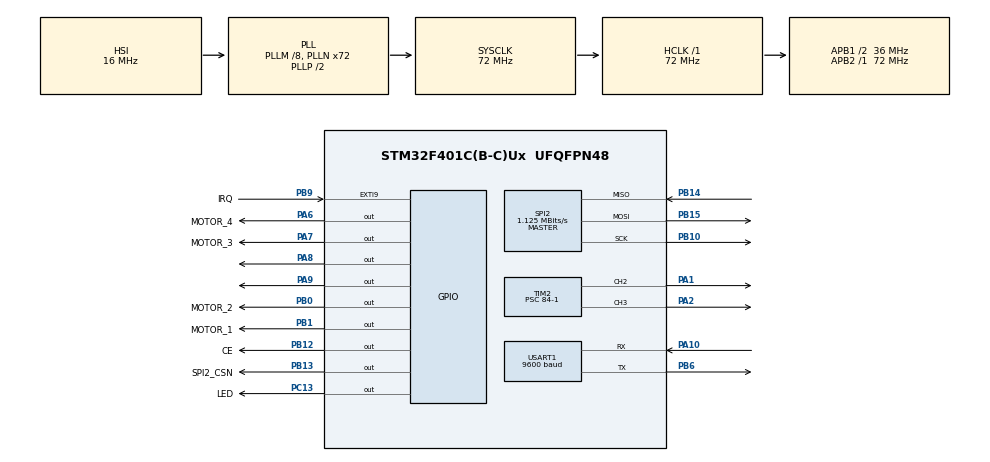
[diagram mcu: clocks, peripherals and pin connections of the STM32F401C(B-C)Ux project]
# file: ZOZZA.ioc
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FREERTOS.Tasks01=defaultTask,24,128,StartDefaultTask,Default,NULL,Dynamic,NULL,NULL;CTRLt,40,128,CTRL,Default,NULL,Dynamic,NULL,NULL;SPEEDt,48,128,SPEED,Default,NULL,Dynamic,NULL,NULL;NRFt,49,128,NRF,Default,NULL,Dynamic,NULL,NULL
FREERTOS.configUSE_NEWLIB_REENTRANT=1
Mcu.Family=STM32F4
Mcu.Name=STM32F401C(B-C)Ux
Mcu.Package=UFQFPN48
NVIC.EXTI9_5_IRQn=true\:5\:0\:false\:false\:true\:true\:true\:true\:true
NVIC.PriorityGroup=NVIC_PRIORITYGROUP_4
NVIC.TIM1_UP_TIM10_IRQn=true\:15\:0\:false\:false\:true\:false\:false\:true\:true
NVIC.TIM2_IRQn=true\:5\:0\:false\:false\:true\:true\:true\:true\:true
NVIC.TimeBase=TIM1_UP_TIM10_IRQn
NVIC.TimeBaseIP=TIM10
NVIC.USART1_IRQn=true\:5\:0\:false\:false\:true\:true\:true\:true\:true
PA1.Signal=S_TIM2_CH2
PA10.Mode=Asynchronous
PA10.Signal=USART1_RX
PA2.Signal=S_TIM2_CH3
PA6.GPIO_Label=MOTOR_4
PA6.Signal=GPIO_Output
PA7.GPIO_Label=MOTOR_3
PA7.Signal=GPIO_Output
PA8.Signal=GPIO_Output
PA9.Signal=GPIO_Output
PB0.GPIO_Label=MOTOR_2
PB0.Signal=GPIO_Output
PB1.GPIO_Label=MOTOR_1
PB1.Signal=GPIO_Output
PB10.Mode=Full_Duplex_Master
PB10.Signal=SPI2_SCK
PB12.GPIO_Label=CE
PB12.GPIO_Speed=GPIO_SPEED_FREQ_HIGH
PB12.Signal=GPIO_Output
PB13.GPIO_Label=SPI2_CSN
PB13.GPIO_Speed=GPIO_SPEED_FREQ_HIGH
PB13.PinState=GPIO_PIN_SET
PB13.Signal=GPIO_Output
PB14.Mode=Full_Duplex_Master
PB14.Signal=SPI2_MISO
PB15.Mode=Full_Duplex_Master
PB15.Signal=SPI2_MOSI
PB6.Mode=Asynchronous
PB6.Signal=USART1_TX
PB9.GPIO_Label=IRQ
PB9.GPIO_ModeDefaultEXTI=GPIO_MODE_IT_FALLING
PB9.Signal=GPXTI9
PC13-ANTI_TAMP.GPIO_Label=LED
PC13-ANTI_TAMP.PinState=GPIO_PIN_SET
PC13-ANTI_TAMP.Signal=GPIO_Output
ProjectManager.HeapSize=0x200
ProjectManager.StackSize=0x400
ProjectManager.TargetToolchain=STM32CubeIDE
RCC.48MHZClocksFreq_Value=36000000
RCC.AHBFreq_Value=72000000
RCC.APB1CLKDivider=RCC_HCLK_DIV2
RCC.APB1Freq_Value=36000000
RCC.APB1TimFreq_Value=72000000
RCC.APB2Freq_Value=72000000
RCC.APB2TimFreq_Value=72000000
RCC.CortexFreq_Value=72000000
RCC.HCLKFreq_Value=72000000
RCC.HSE_VALUE=25000000
RCC.HSI_VALUE=16000000
RCC.LSE_VALUE=32768
RCC.PLLM=8
RCC.PLLN=72
RCC.SYSCLKFreq_VALUE=72000000
RCC.SYSCLKSource=RCC_SYSCLKSOURCE_PLLCLK
RCC.VCOOutputFreq_Value=144000000
SH.S_TIM2_CH2.0=TIM2_CH2,PWM Generation2 CH2
SH.S_TIM2_CH3.0=TIM2_CH3,PWM Generation3 CH3
SPI2.BaudRatePrescaler=SPI_BAUDRATEPRESCALER_32
SPI2.CalculateBaudRate=1.125 MBits/s
SPI2.Direction=SPI_DIRECTION_2LINES
SPI2.Mode=SPI_MODE_MASTER
SPI2.VirtualType=VM_MASTER
TIM2.Channel-PWM\ Generation2\ CH2=TIM_CHANNEL_2
TIM2.Channel-PWM\ Generation3\ CH3=TIM_CHANNEL_3
TIM2.Period=1000-1
TIM2.Prescaler=84-1
USART1.BaudRate=9600
USART1.VirtualMode=VM_ASYNC
VP_FREERTOS_VS_CMSIS_V2.Mode=CMSIS_V2
VP_SYS_VS_tim10.Mode=TIM10
VP_TIM2_VS_ClockSourceINT.Mode=Internal
board=custom

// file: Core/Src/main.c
/* USER CODE BEGIN Header */
/**
  ******************************************************************************
  * @file           : main.c
  * @brief          : Main program body
  ******************************************************************************
  * @attention
  *
  * <h2><center>&copy; Copyright (c) 2021 STMicroelectronics.
  * All rights reserved.</center></h2>
  *
  * This software component is licensed by ST under BSD 3-Clause license,
  * the "License"; You may not use this file except in compliance with the
  * License. You may obtain a copy of the License at:
  *                        opensource.org/licenses/BSD-3-Clause
  *
  ******************************************************************************
  */
/* USER CODE END Header */
#include "main.h"
#include "cmsis_os.h"
#include "spi.h"
#include "tim.h"
#include "usart.h"
#include "gpio.h"

/* USER CODE BEGIN PD */

#define TRANSMITTER

/* USER CODE END PD */

/* USER CODE BEGIN PV */
/***********BLE***********/
uint8_t rxBlue='X';
/***********BLE***********/

/***********NRF***********/
uint8_t tx_data[NRF24L01P_PAYLOAD_LENGTH] = {0,'X'};
/***********NRF***********/
/* USER CODE END PV */

void SystemClock_Config(void);
void MX_FREERTOS_Init(void);
/* USER CODE BEGIN PFP */
void HAL_GPIO_EXTI_Callback(uint16_t GPIO_Pin);
void HAL_UART_RxCpltCallback(UART_HandleTypeDef *huart);
/* USER CODE END PFP */

int main(void)
{

  /* MCU Configuration--------------------------------------------------------*/

  /* Reset of all peripherals, Initializes the Flash interface and the Systick. */
  HAL_Init();

  /* Configure the system clock */
  SystemClock_Config();

  /* Initialize all configured peripherals */
  MX_GPIO_Init();
  MX_SPI2_Init();
  MX_TIM2_Init();
  MX_USART1_UART_Init();
  /* USER CODE BEGIN 2 */
  nrf24l01p_tx_init(2500, _2Mbps);

  HAL_TIM_PWM_Start(&htim2, TIM_CHANNEL_2);
  HAL_TIM_PWM_Start(&htim2, TIM_CHANNEL_3);
  HAL_UART_Receive_IT(&huart1,&rxBlue,1); // Enabling interrupt receive

  /* USER CODE END 2 */

  /* Init scheduler */
  osKernelInitialize();

  /* Call init function for freertos objects (in freertos.c) */
  MX_FREERTOS_Init();

  /* Start scheduler */
  osKernelStart();

  /* We should never get here as control is now taken by the scheduler */
  /* Infinite loop */
  while (1)
  {

  }
}

void SystemClock_Config(void)
{
  RCC_OscInitTypeDef RCC_OscInitStruct = {0};
  RCC_ClkInitTypeDef RCC_ClkInitStruct = {0};

  /** Configure the main internal regulator output voltage
  */
  __HAL_RCC_PWR_CLK_ENABLE();
  __HAL_PWR_VOLTAGESCALING_CONFIG(PWR_REGULATOR_VOLTAGE_SCALE2);

  /** Initializes the RCC Oscillators according to the specified parameters
  * in the RCC_OscInitTypeDef structure.
  */
  RCC_OscInitStruct.OscillatorType = RCC_OSCILLATORTYPE_HSI;
  RCC_OscInitStruct.HSIState = RCC_HSI_ON;
  RCC_OscInitStruct.HSICalibrationValue = RCC_HSICALIBRATION_DEFAULT;
  RCC_OscInitStruct.PLL.PLLState = RCC_PLL_ON;
  RCC_OscInitStruct.PLL.PLLSource = RCC_PLLSOURCE_HSI;
  RCC_OscInitStruct.PLL.PLLM = 8;
  RCC_OscInitStruct.PLL.PLLN = 72;
  RCC_OscInitStruct.PLL.PLLP = RCC_PLLP_DIV2;
  RCC_OscInitStruct.PLL.PLLQ = 4;
  if (HAL_RCC_OscConfig(&RCC_OscInitStruct) != HAL_OK)
  {
    Error_Handler();
  }

  /** Initializes the CPU, AHB and APB buses clocks
  */
  RCC_ClkInitStruct.ClockType = RCC_CLOCKTYPE_HCLK|RCC_CLOCKTYPE_SYSCLK
                              |RCC_CLOCKTYPE_PCLK1|RCC_CLOCKTYPE_PCLK2;
  RCC_ClkInitStruct.SYSCLKSource = RCC_SYSCLKSOURCE_PLLCLK;
  RCC_ClkInitStruct.AHBCLKDivider = RCC_SYSCLK_DIV1;
  RCC_ClkInitStruct.APB1CLKDivider = RCC_HCLK_DIV2;
  RCC_ClkInitStruct.APB2CLKDivider = RCC_HCLK_DIV1;

  if (HAL_RCC_ClockConfig(&RCC_ClkInitStruct, FLASH_LATENCY_2) != HAL_OK)
  {
    Error_Handler();
  }
}

/* USER CODE BEGIN 4 */

void HAL_GPIO_EXTI_Callback(uint16_t GPIO_Pin)
{
	if(GPIO_Pin == IRQ_NUMBER )
	{
		nrf24l01p_tx_irq();
	}
}
void HAL_UART_RxCpltCallback(UART_HandleTypeDef *huart)
{
	if(huart->Instance==USART1){
		HAL_UART_Receive_IT(&huart1,&rxBlue,1); // Enabling interrupt receive again
	}
}

/* USER CODE END 4 */

void HAL_TIM_PeriodElapsedCallback(TIM_HandleTypeDef *htim)
{
  if (htim->Instance == TIM10) {
    HAL_IncTick();
  }
}

void Error_Handler(void)
{
  __disable_irq();
  while (1)
  {
  }
}

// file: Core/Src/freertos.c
/* USER CODE BEGIN Header */
/**
  ******************************************************************************
  * File Name          : freertos.c
  * Description        : Code for freertos applications
  ******************************************************************************
  * @attention
  *
  * Copyright (c) 2024 STMicroelectronics.
  * All rights reserved.
  *
  * This software is licensed under terms that can be found in the LICENSE file
  * in the root directory of this software component.
  * If no LICENSE file comes with this software, it is provided AS-IS.
  *
  ******************************************************************************
  */
/* USER CODE END Header */

#include "FreeRTOS.h"
#include "task.h"
#include "main.h"
#include "cmsis_os.h"

/* Definitions for defaultTask */
osThreadId_t defaultTaskHandle;
const osThreadAttr_t defaultTask_attributes = {
  .name = "defaultTask",
  .stack_size = 128 * 4,
  .priority = (osPriority_t) osPriorityNormal,
};
/* Definitions for CTRLt */
osThreadId_t CTRLtHandle;
const osThreadAttr_t CTRLt_attributes = {
  .name = "CTRLt",
  .stack_size = 128 * 4,
  .priority = (osPriority_t) osPriorityHigh,
};
/* Definitions for SPEEDt */
osThreadId_t SPEEDtHandle;
const osThreadAttr_t SPEEDt_attributes = {
  .name = "SPEEDt",
  .stack_size = 128 * 4,
  .priority = (osPriority_t) osPriorityRealtime,
};
/* Definitions for NRFt */
osThreadId_t NRFtHandle;
const osThreadAttr_t NRFt_attributes = {
  .name = "NRFt",
  .stack_size = 128 * 4,
  .priority = (osPriority_t) osPriorityRealtime1,
};

void StartDefaultTask(void *argument);
void CTRL(void *argument);
void SPEED(void *argument);
void NRF(void *argument);

void MX_FREERTOS_Init(void); /* (MISRA C 2004 rule 8.1) */

void MX_FREERTOS_Init(void) {

  /* Create the thread(s) */
  /* creation of defaultTask */
  defaultTaskHandle = osThreadNew(StartDefaultTask, NULL, &defaultTask_attributes);

  /* creation of CTRLt */
  CTRLtHandle = osThreadNew(CTRL, NULL, &CTRLt_attributes);

  /* creation of SPEEDt */
  SPEEDtHandle = osThreadNew(SPEED, NULL, &SPEEDt_attributes);

  /* creation of NRFt */
  NRFtHandle = osThreadNew(NRF, NULL, &NRFt_attributes);

}

void StartDefaultTask(void *argument)
{
  for(;;)
  {
    osDelay(1);
  }
}

void CTRL(void *argument)
{
  /* USER CODE BEGIN CTRL */
  /* Infinite loop */
  for(;;){
  switch (rxBlue) {

  case 70:	//forward 'F'
  case 102:	//forward 'f'
    HAL_GPIO_WritePin(MOTOR_1_GPIO_Port, MOTOR_1_Pin, 1);
    HAL_GPIO_WritePin(MOTOR_2_GPIO_Port, MOTOR_2_Pin, 0);
    HAL_GPIO_WritePin(MOTOR_3_GPIO_Port, MOTOR_3_Pin, 1);
    HAL_GPIO_WritePin(MOTOR_4_GPIO_Port, MOTOR_4_Pin, 0);
    break;

  case 82:	//right 'R'
  case 114:	//right 'R'
    HAL_GPIO_WritePin(MOTOR_1_GPIO_Port, MOTOR_1_Pin, 0);
    HAL_GPIO_WritePin(MOTOR_2_GPIO_Port, MOTOR_2_Pin, 1);
    HAL_GPIO_WritePin(MOTOR_3_GPIO_Port, MOTOR_3_Pin, 1);
    HAL_GPIO_WritePin(MOTOR_4_GPIO_Port, MOTOR_4_Pin, 0);
    break;

  case 76:	//left 'L'
  case 108:	//left 'L'
    HAL_GPIO_WritePin(MOTOR_1_GPIO_Port, MOTOR_1_Pin, 1);
    HAL_GPIO_WritePin(MOTOR_2_GPIO_Port, MOTOR_2_Pin, 0);
        HAL_GPIO_WritePin(MOTOR_3_GPIO_Port, MOTOR_3_Pin, 0);
        HAL_GPIO_WritePin(MOTOR_4_GPIO_Port, MOTOR_4_Pin, 1);
    break;

  case 71:	//back 'G'
  case 103:	//back 'g'
    HAL_GPIO_WritePin(MOTOR_1_GPIO_Port, MOTOR_1_Pin, 0);
        HAL_GPIO_WritePin(MOTOR_2_GPIO_Port, MOTOR_2_Pin, 1);
        HAL_GPIO_WritePin(MOTOR_3_GPIO_Port, MOTOR_3_Pin, 0);
        HAL_GPIO_WritePin(MOTOR_4_GPIO_Port, MOTOR_4_Pin, 1);
    break;

  case 88:	//stop 'X'
        HAL_GPIO_WritePin(MOTOR_1_GPIO_Port, MOTOR_1_Pin, 0);
        HAL_GPIO_WritePin(MOTOR_2_GPIO_Port, MOTOR_2_Pin, 0);
        HAL_GPIO_WritePin(MOTOR_3_GPIO_Port, MOTOR_3_Pin, 0);
        HAL_GPIO_WritePin(MOTOR_4_GPIO_Port, MOTOR_4_Pin, 0);
    break;

  default:
    ///*send the next movement to ossa*/
    //display[NEXT_MOVE] = rxData;
    break;

  }
	osDelay(1);
	}
  /* USER CODE END CTRL */
}

void SPEED(void *argument)
{
  /* USER CODE BEGIN SPEED */
  /* Infinite loop */
  for(;;)
  {
    if (rxBlue=='X') {
      __HAL_TIM_SET_COMPARE(&htim2, TIM_CHANNEL_2, 0);
      __HAL_TIM_SET_COMPARE(&htim2, TIM_CHANNEL_3, 0);
      tx_data[DUTY_CYCLE] = 0;
  }else if (rxBlue=='F'||rxBlue=='G'||rxBlue=='L'||rxBlue=='R'){
      __HAL_TIM_SET_COMPARE(&htim2, TIM_CHANNEL_2, 900);
      __HAL_TIM_SET_COMPARE(&htim2, TIM_CHANNEL_3, 900);
      tx_data[DUTY_CYCLE] = 9;
  }else if (rxBlue=='f'||rxBlue=='g'||rxBlue=='l'||rxBlue=='r'){
      __HAL_TIM_SET_COMPARE(&htim2, TIM_CHANNEL_2, 400);
      __HAL_TIM_SET_COMPARE(&htim2, TIM_CHANNEL_3, 400);
      tx_data[DUTY_CYCLE] = 4;
  }
    osDelay(1);
  }

  /* USER CODE END SPEED */
}

void NRF(void *argument)
{
  /* USER CODE BEGIN NRF */
  /* Infinite loop */
  for(;;)
  {
	tx_data[NEXT_MOVE] = rxBlue;
	nrf24l01p_tx_transmit(tx_data);
    osDelay(500);
  }
  /* USER CODE END NRF */
}
